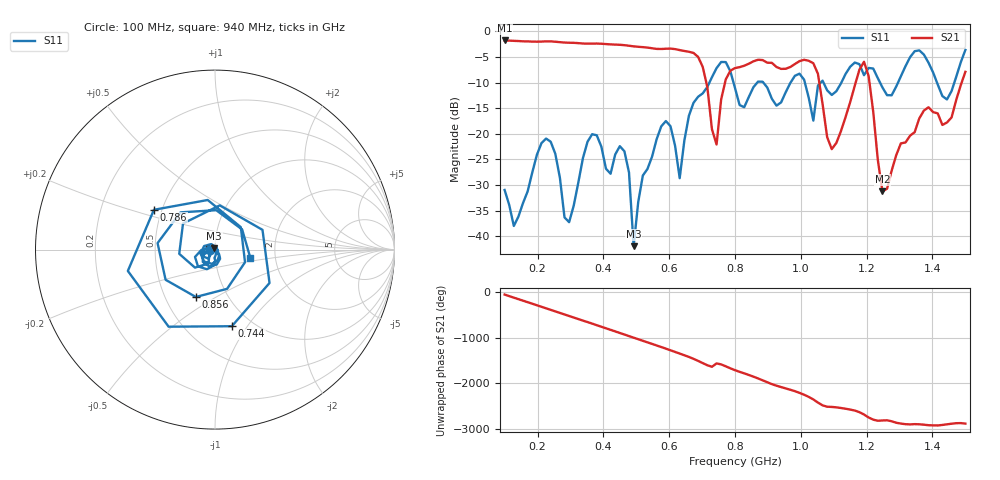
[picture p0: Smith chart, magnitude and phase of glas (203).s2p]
! NanoVNA-App
! Date: 2025-09-25 15:57:03
! Start: 100MHz Stop: 1,5GHz Points: 101
! S-Parameter data: F S11 S21 S12 S22
# Hz S RI R 50
!  Frequency  S11_Real  S11_Imag  S21_Real  S21_Imag  S12_Real  S12_Imag  S22_Real  S22_Imag
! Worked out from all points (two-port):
!   101 points, 100 MHz to 1.5 GHz, reference 50 ohm
!   highest |S21| = -1.80 dB at 100 MHz (marker M1); lowest = -31.2 dB at 1.248 GHz (marker M2)
!   |S21| within 3 dB of the highest: start of sweep to 684.2 MHz
!   lowest |S11| = -41.9 dB at 492 MHz (marker M3), VSWR 1.02, Z = 49.5 + j0.612 ohm
!   |S11| at or under -10 dB: start of sweep to 722.3 MHz; 795.4 MHz to 867.8 MHz (72.41 MHz wide, 8.71 % of centre); 886 MHz to 969 MHz (83.02 MHz wide, 8.95 % of centre) (the widest 3 of 7)
!   S12 and S22 are empty: the file has one direction only
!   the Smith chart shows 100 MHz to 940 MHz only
!   S11 on the Smith chart (normalised r, x): 100 MHz: 0.95, -0.01; 744 MHz: 0.81, -0.85; 786 MHz: 0.45, +0.24; 856 MHz: 0.71, -0.41; 940 MHz: 1.48, -0.14
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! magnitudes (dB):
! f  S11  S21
! 100 MHz  -31.0  -1.8
! 128 MHz  -38.0  -1.9
! 226 MHz  -20.9  -2.0
! 296 MHz  -37.2  -2.2
! 338 MHz  -24.7  -2.4
! 464 MHz  -23.4  -2.7
! 492 MHz  -41.9  -3.0
! 576 MHz  -18.5  -3.5
! 632 MHz  -28.7  -3.7
! 702 MHz  -12.1  -7.0
! 744 MHz  -7.2  -22.1
! 786 MHz  -7.8  -7.7
! 800 MHz  -11.1  -7.2
! 856 MHz  -10.9  -5.9
! 940 MHz  -13.9  -7.3
! 996 MHz  -8.3  -5.8
! 1.038 GHz  -17.4  -6.2
! 1.094 GHz  -12.4  -23.0
! 1.192 GHz  -8.6  -6.0
! 1.248 GHz  -11.0  -31.2
! 1.276 GHz  -12.5  -27.2
! 1.5 GHz  -3.6  -7.9
